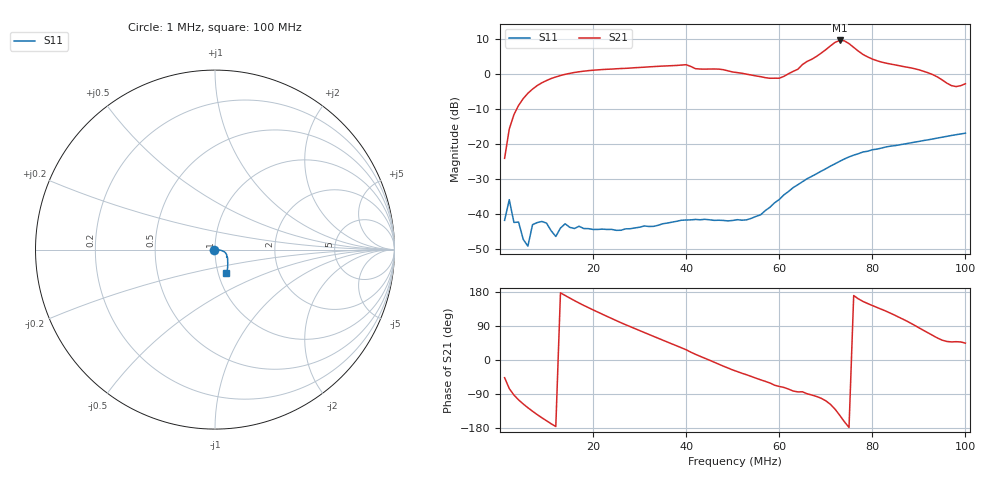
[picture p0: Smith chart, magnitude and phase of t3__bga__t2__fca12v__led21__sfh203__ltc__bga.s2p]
# HZ S RI R 50
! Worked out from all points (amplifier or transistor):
!   100 points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, 1 MHz to 100 MHz, reference 50 ohm
!   highest |S21| = 9.7 dB at 73 MHz (marker M1)
!   |S21| within 3 dB of that: 69.65 MHz to 76.95 MHz (7.302 MHz wide, 9.96 % of centre)
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1000001  -0.00813 -0.000481  0.0431 -0.0457  0 0  0 0
2000001  -0.0126 -0.00999  0.0419 -0.16  0 0  0 0
6000001  -0.00337 0.00087  -0.315 -0.4343  0 0  0 0
8000001  -0.00696 0.00297  -0.5605 -0.4058  0 0  0 0
1.3e7  -0.00589 -0.00227  -0.9628 0.0466  0 0  0 0
1.8e7  -0.00531 -0.00322  -0.9017 0.6522  0 0  0 0
2.6e7  -0.00343 -0.00477  -0.1776 1.201  0 0  0 0
3.4e7  -0.00146 -0.00677  0.7034 1.099  0 0  0 0
4e7  2.33e-05 -0.00824  1.225 0.6261  0 0  0 0
5.1e7  0.00449 -0.00701  0.9138 -0.5399  0 0  0 0
6.1e7  0.0188 -0.00157  0.2843 -0.893  0 0  0 0
6.7e7  0.0345 -0.00454  -0.07 -1.647  0 0  0 0
7e7  0.0438 -0.00833  -0.6829 -2.152  0 0  0 0
7.2e7  0.0512 -0.0118  -1.843 -2.207  0 0  0 0
7.3e7  0.0551 -0.0149  -2.537 -1.717  0 0  0 0
7.4e7  0.0587 -0.0184  -2.89 -0.8878  0 0  0 0
7.5e7  0.0618 -0.0229  -2.757 -0.0948  0 0  0 0
7.7e7  0.0658 -0.0322  -2.042 0.6887  0 0  0 0
8.4e7  0.0709 -0.0621  -0.7653 1.177  0 0  0 0
8.9e7  0.0713 -0.0798  -0.0442 1.211  0 0  0 0
9.3e7  0.0706 -0.0959  0.4243 0.8967  0 0  0 0
1e8  0.0621 -0.13  0.5247 0.5138  0 0  0 0
